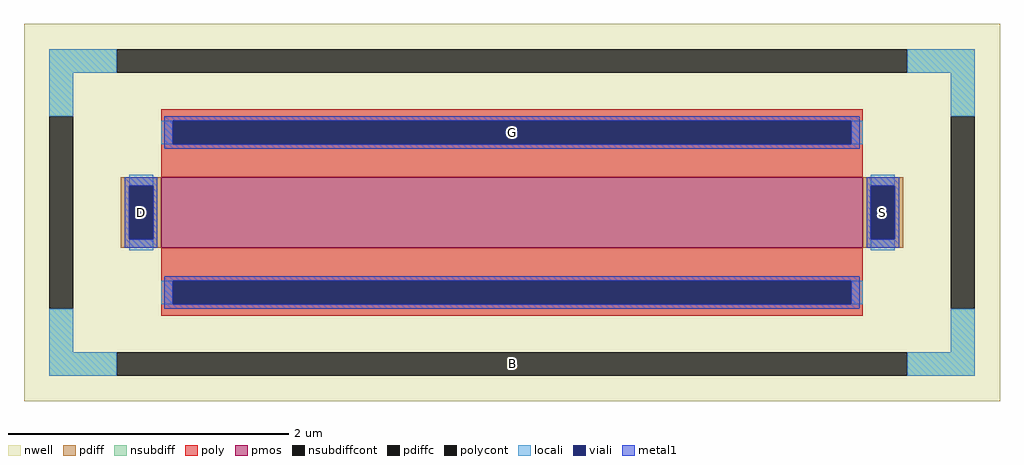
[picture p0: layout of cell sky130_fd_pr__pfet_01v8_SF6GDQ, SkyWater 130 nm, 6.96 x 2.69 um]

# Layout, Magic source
magic
tech sky130A
magscale 1 2
<< nwell >>
rect -696 -269 696 269
<< pmos >>
rect -500 -50 500 50
<< pdiff >>
rect -558 38 -500 50
rect -558 -38 -546 38
rect -512 -38 -500 38
rect -558 -50 -500 -38
rect 500 38 558 50
rect 500 -38 512 38
rect 546 -38 558 38
rect 500 -50 558 -38
<< pdiffc >>
rect -546 -38 -512 38
rect 512 -38 546 38
<< nsubdiff >>
rect -660 199 -564 233
rect 564 199 660 233
rect -660 137 -626 199
rect 626 137 660 199
rect -660 -199 -626 -137
rect 626 -199 660 -137
rect -660 -233 -564 -199
rect 564 -233 660 -199
<< nsubdiffcont >>
rect -564 199 564 233
rect -660 -137 -626 137
rect 626 -137 660 137
rect -564 -233 564 -199
<< poly >>
rect -500 131 500 147
rect -500 97 -484 131
rect 484 97 500 131
rect -500 50 500 97
rect -500 -97 500 -50
rect -500 -131 -484 -97
rect 484 -131 500 -97
rect -500 -147 500 -131
<< polycont >>
rect -484 97 484 131
rect -484 -131 484 -97
<< locali >>
rect -660 199 -564 233
rect 564 199 660 233
rect -660 137 -626 199
rect 626 137 660 199
rect -500 97 -484 131
rect 484 97 500 131
rect -546 38 -512 54
rect -546 -54 -512 -38
rect 512 38 546 54
rect 512 -54 546 -38
rect -500 -131 -484 -97
rect 484 -131 500 -97
rect -660 -199 -626 -137
rect 626 -199 660 -137
rect -660 -233 -564 -199
rect 564 -233 660 -199
<< viali >>
rect -484 97 484 131
rect -546 -38 -512 38
rect 512 -38 546 38
rect -484 -131 484 -97
<< metal1 >>
rect -496 131 496 137
rect -496 97 -484 131
rect 484 97 496 131
rect -496 91 496 97
rect -552 38 -506 50
rect -552 -38 -546 38
rect -512 -38 -506 38
rect -552 -50 -506 -38
rect 506 38 552 50
rect 506 -38 512 38
rect 546 -38 552 38
rect 506 -50 552 -38
rect -496 -97 496 -91
rect -496 -131 -484 -97
rect 484 -131 496 -97
rect -496 -137 496 -131
<< labels >>
rlabel nsubdiffcont 0 -216 0 -216 0 B
port 5 nsew
rlabel pdiffc -529 0 -529 0 0 D
port 6 nsew
rlabel pdiffc 529 0 529 0 0 S
port 7 nsew
rlabel polycont 0 114 0 114 0 G
port 8 nsew
<< properties >>
string FIXED_BBOX -643 -216 643 216
string gencell sky130_fd_pr__pfet_01v8
string library sky130
string parameters w 0.5 l 5.0 m 1 nf 1 diffcov 100 polycov 100 guard 1 glc 1 grc 1 gtc 1 gbc 1 tbcov 100 rlcov 100 topc 1 botc 1 poverlap 0 doverlap 1 lmin 0.15 wmin 0.42 class mosfet compatible {sky130_fd_pr__pfet_01v8  sky130_fd_pr__pfet_01v8_lvt sky130_fd_pr__pfet_01v8_hvt  sky130_fd_pr__pfet_g5v0d10v5} full_metal 1 conn_gates 0 viasrc 100 viadrn 100 viagate 100 viagb 0 viagr 0 viagl 0 viagt 0 doports 1 ad 0.145 as 0.145 pd 1.58 ps 1.58 nrd 0.58 nrs 0.58 sa 0 sb 0 sd 0 mult 1
<< end >>
